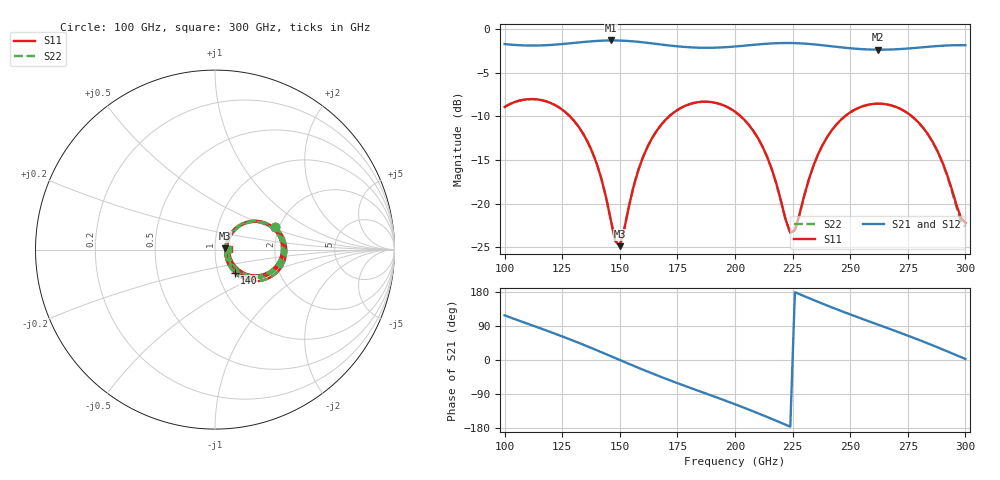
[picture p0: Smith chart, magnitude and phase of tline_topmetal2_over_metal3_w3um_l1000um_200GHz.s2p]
#  GHZ S DB R 50
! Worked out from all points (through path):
!   101 points, 100 GHz to 300 GHz, reference 50 ohm
!   highest |S21| = -1.30 dB at 146 GHz (marker M1); lowest = -2.4 dB at 262 GHz (marker M2)
!   group delay of S21, straight-line fit = 6.62 ps
!   lowest |S11| = -24.9 dB at 150 GHz (marker M3), VSWR 1.12, Z = 56 + j0.843 ohm
!   |S11| at or under -10 dB: 128.3 GHz to 171.4 GHz (43.12 GHz wide, 28.8 % of centre); 202.5 GHz to 247.7 GHz (45.22 GHz wide, 20.1 % of centre); 276.8 GHz to end of sweep
!   |S22| runs from -24.9 to -8.0 dB; largest |S21 - S12| = 9.3e-14
!   S11 on the Smith chart (normalised r, x): 100 GHz: 1.90, +0.55; 140 GHz: 1.20, -0.32; 300 GHz: 1.17, +0.01
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100  -8.93 20.9  -1.72 117.8  -1.72 117.8  -8.93 20.8
118  -8.28 -13.3  -1.85 78.1  -1.85 78.1  -8.28 -13.4
126  -9.43 -28.5  -1.69 59.9  -1.69 59.9  -9.44 -28.5
134  -11.95 -42.6  -1.49 40.8  -1.49 40.8  -11.95 -42.7
140  -15.45 -49.9  -1.36 25.8  -1.36 25.8  -15.45 -49.9
146  -21.77 -40.1  -1.30 10.4  -1.30 10.4  -21.75 -40.1
148  -24.27 -21.8  -1.31 5.2  -1.31 5.2  -24.25 -21.9
150  -24.88 7.6  -1.32 0.0  -1.32 0.0  -24.85 7.4
158  -16.20 47.0  -1.46 -20.4  -1.46 -20.4  -16.20 46.8
168  -10.95 34.5  -1.77 -44.8  -1.77 -44.8  -10.95 34.4
184  -8.38 5.6  -2.13 -81.1  -2.13 -81.1  -8.38 5.4
200  -9.47 -23.7  -2.00 -116.8  -2.00 -116.8  -9.47 -23.9
212  -13.50 -42.4  -1.72 -145.5  -1.72 -145.5  -13.51 -42.7
224  -23.35 -8.3  -1.60 -176.0  -1.60 -176.0  -23.40 -8.6
226  -23.03 14.9  -1.61 178.9  -1.61 178.9  -23.08 14.8
234  -15.70 44.3  -1.75 158.5  -1.75 158.5  -15.71 44.2
246  -10.39 29.7  -2.09 129.5  -2.09 129.5  -10.39 29.5
262  -8.55 1.6  -2.36 93.5  -2.36 93.5  -8.55 1.2
268  -8.76 -9.0  -2.34 80.2  -2.34 80.2  -8.77 -9.5
284  -12.16 -35.2  -2.03 43.0  -2.03 43.0  -12.19 -36.0
292  -16.65 -39.3  -1.88 23.1  -1.88 23.1  -16.75 -40.7
300  -22.20 2.2  -1.85 2.7  -1.85 2.7  -22.65 2.0
